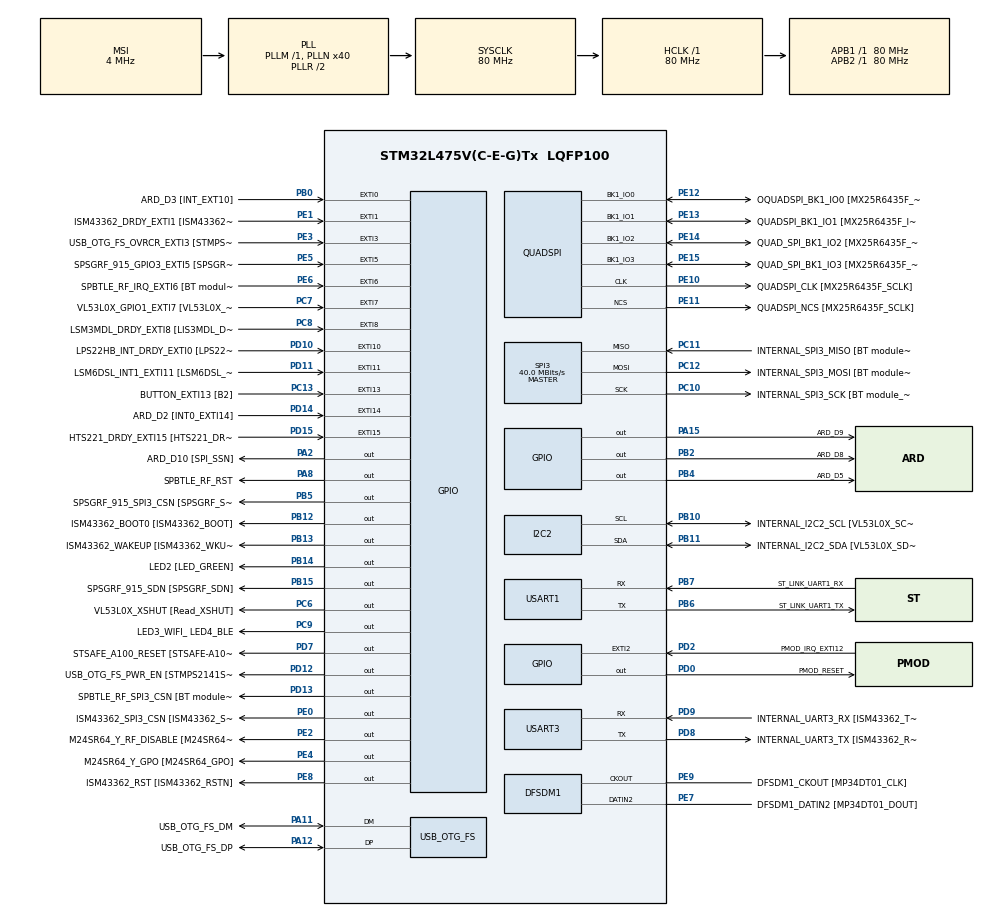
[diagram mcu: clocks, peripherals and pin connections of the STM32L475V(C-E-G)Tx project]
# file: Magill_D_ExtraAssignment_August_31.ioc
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PD12.GPIO_Label=USB_OTG_FS_PWR_EN [STMPS2141STR_EN]
SPI3.Direction=SPI_DIRECTION_2LINES
SPI3.VirtualType=VM_MASTER
QUADSPI.ClockPrescaler=2
PB10.Mode=I2C
PC12.Signal=SPI3_MOSI
PB14.GPIO_Label=LED2 [LED_GREEN]
PC6.GPIO_Label=VL53L0X_XSHUT [Read_XSHUT]
VP_RTC_VS_RTC_Activate.Mode=RTC_Enabled
PA6.GPIO_Label=ARD_D12 [SPI1_MISO]
PB6.GPIO_Label=ST_LINK_UART1_TX
PA15\ (JTDI).Signal=GPIO_Output
PC15-OSC32_OUT\ (PC15).Mode=LSE-External-Oscillator
PB13.Signal=GPIO_Output
PD6.GPIO_Label=PMOD_UART2_RX
PE6.GPIO_Label=SPBTLE_RF_IRQ_EXTI6 [BT module_SPI_IRQ]
RCC.SYSCLKSource=RCC_SYSCLKSOURCE_PLLCLK
PC14-OSC32_IN\ (PC14).Mode=LSE-External-Oscillator
SH.ADCx_IN16.0=ADC1_IN16
USART3.VirtualMode-Asynchronous=VM_ASYNC
PA14\ (JTCK-SWCLK).Signal=SYS_JTCK-SWCLK
Dma.USART1_TX.0.Direction=DMA_MEMORY_TO_PERIPH
PD4.Signal=USART2_RTS
RCC.APB2TimFreq_Value=80000000
PB6.Signal=USART1_TX
PC7.Signal=GPXTI7
PB6.Mode=Asynchronous
PC3.Signal=ADCx_IN4
PD0.Signal=GPIO_Output
PD8.Signal=USART3_TX
PE5.Signal=GPXTI5
PE1.Signal=GPXTI1
QUADSPI.FlashSize=23
NVIC.EXTI15_10_IRQn=true\:0\:0\:false\:false\:true\:true\:true
Dma.USART1_RX.1.PeriphDataAlignment=DMA_PDATAALIGN_BYTE
PB2.Signal=GPIO_Output
PD1.GPIO_Label=PMOD_SPI2_SCK
PB12.GPIO_Label=ISM43362_BOOT0 [ISM43362_BOOT]
PC4.GPIO_Label=ARD_A1 [ADC]
PE9.Signal=S_CKOUTDFSDM1
PB1.GPIO_Label=ARD_D6 [ADC1_IN6]
PE4.GPIO_Label=M24SR64_Y_GPO [M24SR64_GPO]
PE2.Signal=GPIO_Output
PA8.Signal=GPIO_Output
PE13.Mode=Single Bank
Dma.USART1_TX.0.PeriphDataAlignment=DMA_PDATAALIGN_BYTE
PE10.Signal=QUADSPI_CLK
PA0.Signal=UART4_TX
Dma.USART1_RX.1.Mode=DMA_NORMAL
Mcu.Package=LQFP100
PB9.Signal=I2C1_SDA
PB1.Signal=ADCx_IN16
SPI3.Mode=SPI_MODE_MASTER
SH.ADCx_IN14.0=ADC1_IN14
PD12.Signal=GPIO_Output
PA10.Signal=USB_OTG_FS_ID
VP_RTC_VS_RTC_Calendar.Mode=RTC_Calendar
PE12.GPIO_Label=OQUADSPI_BK1_IO0 [MX25R6435F_IO0]
PC11.Mode=Full_Duplex_Master
SH.ADCx_IN9.0=ADC1_IN9
Dma.USART1_RX.1.PeriphInc=DMA_PINC_DISABLE
RCC.APB1TimFreq_Value=80000000
NVIC.DMA1_Channel4_IRQn=true\:0\:0\:false\:false\:true\:false\:true
PA13\ (JTMS-SWDIO).Signal=SYS_JTMS-SWDIO
NVIC.USART1_IRQn=true\:0\:0\:false\:false\:true\:true\:true
PE10.GPIO_Label=QUADSPI_CLK [MX25R6435F_SCLK]
PA4.GPIO_Label=ARD_D7
PD15.Signal=GPXTI15
PE12.Mode=Single Bank
Dma.USART1_RX.1.Instance=DMA1_Channel5
Dma.USART1_RX.1.MemDataAlignment=DMA_MDATAALIGN_BYTE
PD9.GPIO_Label=INTERNAL_UART3_RX [ISM43362_TX]
PA9.GPIO_Label=USB_OTG_FS_VBUS [STMPS2141STR_OUT]
PC13.Signal=GPXTI13
PD3.Signal=USART2_CTS
PC6.Signal=GPIO_Output
PE10.Mode=Single Bank
PC2.Signal=ADCx_IN3
PB11.GPIO_Label=INTERNAL_I2C2_SDA [VL53L0X_SDA]
PD7.Signal=GPIO_Output
PD1.Signal=SPI2_SCK
PA11.GPIO_Label=USB_OTG_FS_DM
PC0.Signal=ADCx_IN1
PD10.Signal=GPXTI10
PB8.GPIO_Label=ARD_D15 [I2C1_SCL]
PA8.GPIO_Label=SPBTLE_RF_RST
PB11.Mode=I2C
RTC.Year=21
PE8.GPIO_Label=ISM43362_RST [ISM43362_RSTN]
PA9.Signal=USB_OTG_FS_VBUS
PE9.GPIO_Label=DFSDM1_CKOUT [MP34DT01_CLK]
PD8.Mode=Asynchronous
PB10.Signal=I2C2_SCL
PB14.Signal=GPIO_Output
PA5.Signal=SPI1_SCK
PC12.Mode=Full_Duplex_Master
PE1.GPIO_Label=ISM43362_DRDY_EXTI1 [ISM43362_DATARDY]
PE14.Signal=QUADSPI_BK1_IO2
PE15.Signal=QUADSPI_BK1_IO3
PB15.GPIO_Label=SPSGRF_915_SDN [SPSGRF_SDN]
PE8.Signal=GPIO_Output
PA1.GPIO_Label=ARD_D0 [UART4_RX]
SH.ADCx_IN4.0=ADC1_IN4
QUADSPI.FifoThreshold=4
PC7.GPIO_Label=VL53L0X_GPIO1_EXTI7 [VL53L0X_GPIO1]
PA13\ (JTMS-SWDIO).Mode=Serial_Wire
PA4.Signal=ADCx_IN9
PB5.Signal=GPIO_Output
PE13.GPIO_Label=QUADSPI_BK1_IO1 [MX25R6435F_IO1]
PA5.GPIO_Label=ARD_D13 [SPI1_SCK]
PD11.Signal=GPXTI11
PE5.GPIO_Label=SPSGRF_915_GPIO3_EXTI5 [SPSGRF_GPIO_3]
PC12.GPIO_Label=INTERNAL_SPI3_MOSI [BT module_SPI_MOSI] [ISM43362_MOSI]
PA11.Signal=USB_OTG_FS_DM
RTC.HourFormat=RTC_HOURFORMAT_24
ProjectManager.HeapSize=0x200
NVIC.PriorityGroup=NVIC_PRIORITYGROUP_4
PE3.Signal=GPXTI3
PC3.GPIO_Label=ARD_A2 [ADC]
Dma.USART1_RX.1.Direction=DMA_PERIPH_TO_MEMORY
PB4\ (NJTRST).GPIO_Label=ARD_D5
PD2.Signal=GPXTI2
PB0.Signal=GPXTI0
RTC.Date=28
PC1.Signal=ADCx_IN2
PD2.GPIO_Label=PMOD_IRQ_EXTI12
PE15.Mode=Single Bank
Mcu.Family=STM32L4
RCC.CortexFreq_Value=80000000
NVIC.DMA1_Channel5_IRQn=true\:0\:0\:false\:false\:true\:false\:true
PE11.GPIO_Label=QUADSPI_NCS [MX25R6435F_SCLK]
SH.ADCx_IN2.0=ADC1_IN2
PC10.Signal=SPI3_SCK
PA0.GPIO_Label=ARD_D1 [UART4_TX]
PC0.GPIO_Label=ARD_A5 [ADC]
PD0.GPIO_Label=PMOD_RESET
RTC.WeekDay=RTC_WEEKDAY_SATURDAY
PA11.Mode=Device_Only
PB0.GPIO_Label=ARD_D3 [INT_EXT10]
PC13.GPIO_Label=BUTTON_EXTI13 [B2]
PB13.GPIO_Label=ISM43362_WAKEUP [ISM43362_WKUP]
PB11.Signal=I2C2_SDA
PB15.Signal=GPIO_Output
PD9.Mode=Asynchronous
ProjectManager.StackSize=0x400
PB3\ (JTDO-TRACESWO).Signal=SYS_JTDO-SWO
PD13.Signal=GPIO_Output
Dma.USART1_TX.0.Priority=DMA_PRIORITY_LOW
PA12.Signal=USB_OTG_FS_DP
PE11.Mode=Single Bank
PD11.GPIO_Label=LSM6DSL_INT1_EXTI11 [LSM6DSL_INT1]
RCC.HCLKFreq_Value=80000000
SH.ADCx_IN3.0=ADC1_IN3
PB5.PinState=GPIO_PIN_SET
Dma.USART1_RX.1.MemInc=DMA_MINC_ENABLE
RCC.AHBFreq_Value=80000000
RCC.HSE_VALUE=8000000
RTC.Minutes=45
RTC.Month=RTC_MONTH_AUGUST
PE13.Signal=QUADSPI_BK1_IO1
PC11.GPIO_Label=INTERNAL_SPI3_MISO [BT module_SPI_MISO] [ISM43362_MISO]
PA10.GPIO_Label=USB_OTG_FS_ID
PB7.Signal=USART1_RX
PE4.Signal=GPIO_Output
QUADSPI.SampleShifting=QSPI_SAMPLE_SHIFTING_HALFCYCLE
PD7.GPIO_Label=STSAFE_A100_RESET [STSAFE-A100_RESET]
PB7.GPIO_Label=ST_LINK_UART1_RX
PD13.GPIO_Label=SPBTLE_RF_SPI3_CSN [BT module_SPI_CS]
PA6.Signal=SPI1_MISO
PD5.GPIO_Label=PMOD_UART2_TX
PA2.GPIO_Label=ARD_D10 [SPI_SSN]
USB_OTG_FS.VirtualMode=Device_Only
Dma.USART1_TX.0.Instance=DMA1_Channel4
PE0.GPIO_Label=ISM43362_SPI3_CSN [ISM43362_SSN]
SH.ADCx_IN1.0=ADC1_IN1
PB5.GPIO_Label=SPSGRF_915_SPI3_CSN [SPSGRF_SPI_CS]
Dma.Request1=USART1_RX
PC5.Signal=ADCx_IN14
PD3.GPIO_Label=PMOD_UART2_CTS
Dma.USART1_RX.1.Priority=DMA_PRIORITY_LOW
PE7.Signal=S_DATAIN2DFSDM1
PD6.Signal=USART2_RX
Dma.Request0=USART1_TX
PE2.GPIO_Label=M24SR64_Y_RF_DISABLE [M24SR64_RFDIS]
PC2.GPIO_Label=ARD_A3 [ADC]
RCC.PLLSAI1N=24
PA3.Signal=S_TIM2_CH4
RCC.MSI_VALUE=4000000
PA14\ (JTCK-SWCLK).Mode=Serial_Wire
SH.ADCx_IN13.0=ADC1_IN13
PD15.GPIO_Label=HTS221_DRDY_EXTI15 [HTS221_DRDY]
Dma.USART1_TX.0.MemInc=DMA_MINC_ENABLE
PB9.GPIO_Label=ARD_D14 [I2C1_SDA]
Dma.USART1_TX.0.PeriphInc=DMA_PINC_DISABLE
PC10.GPIO_Label=INTERNAL_SPI3_SCK [BT module_SPI_SCLK] [ISM43362_SCK]
PC9.GPIO_Label=LED3_WIFI_ LED4_BLE
PC11.Signal=SPI3_MISO
PC8.Signal=GPXTI8
PC4.Signal=ADCx_IN13
PC10.Mode=Full_Duplex_Master
SH.S_DATAIN2DFSDM1.0=DFSDM1_DATIN2,PDM_SPI_Input_from_ch12_and_Internal_Clock
PE14.GPIO_Label=QUAD_SPI_BK1_IO2 [MX25R6435F_IO2]
PC15-OSC32_OUT\ (PC15).Signal=RCC_OSC32_OUT
PD9.Signal=USART3_RX
PD5.Signal=USART2_TX
PA14\ (JTCK-SWCLK).GPIO_Label=SYS_JTCK_SWCLK
PB3\ (JTDO-TRACESWO).GPIO_Label=SYS_JTD0_SWO
PA12.GPIO_Label=USB_OTG_FS_DP
PD8.GPIO_Label=INTERNAL_UART3_TX [ISM43362_RX]
PC8.GPIO_Label=LSM3MDL_DRDY_EXTI8 [LIS3MDL_DRDY]
USART1.VirtualMode-Asynchronous=VM_ASYNC
PE0.PinState=GPIO_PIN_SET
PE15.GPIO_Label=QUAD_SPI_BK1_IO3 [MX25R6435F_IO3]
ProjectManager.TargetToolchain=STM32CubeIDE
PB10.GPIO_Label=INTERNAL_I2C2_SCL [VL53L0X_SCL]
RCC.USBFreq_Value=48000000
PD10.GPIO_Label=LPS22HB_INT_DRDY_EXTI0 [LPS22HB_INT_DRDY] 
PE11.Signal=QUADSPI_NCS
PA1.Signal=UART4_RX
Dma.USART1_TX.0.Mode=DMA_NORMAL
board=B-L475E-IOT01A1
RCC.VCOOutputFreq_Value=160000000
RCC.APB2Freq_Value=80000000
SPI3.CalculateBaudRate=40.0 MBits/s
PA13\ (JTMS-SWDIO).GPIO_Label=SYS_JTMS_SWDIO
PD4.GPIO_Label=PMOD_UART2_RTS
PE14.Mode=Single Bank
SH.S_CKOUTDFSDM1.0=DFSDM1_CKOUT,CKOUT
SH.S_CKOUTDFSDM1.1=DFSDM1_CKOUT,PDM_SPI_Input_from_ch12_and_Internal_Clock
RCC.ADCFreq_Value=48000000
PC1.GPIO_Label=ARD_A4 [ADC]
PD14.GPIO_Label=ARD_D2 [INT0_EXTI14]
PE6.Signal=GPXTI6
PA15\ (JTDI).GPIO_Label=ARD_D9
Mcu.Name=STM32L475V(C-E-G)Tx
PE0.Signal=GPIO_Output
PE7.GPIO_Label=DFSDM1_DATIN2 [MP34DT01_DOUT]
PE12.Signal=QUADSPI_BK1_IO0
PA2.Signal=GPIO_Output
PD14.Signal=GPXTI14
RCC.SYSCLKFreq_VALUE=80000000
RTC.Hours=18
PA7.GPIO_Label=ARD_D11 [SPI1_MOSI]
PA12.Mode=Device_Only
PC13.GPIO_ModeDefaultEXTI=GPIO_MODE_IT_FALLING
PC5.GPIO_Label=ARD_A0 [ADC]
PC14-OSC32_IN\ (PC14).Signal=RCC_OSC32_IN
PB7.Mode=Asynchronous
Dma.USART1_TX.0.MemDataAlignment=DMA_MDATAALIGN_BYTE
NVIC.EXTI9_5_IRQn=true\:0\:0\:false\:false\:true\:true\:true
PB2.GPIO_Label=ARD_D8
SH.S_TIM2_CH4.0=TIM2_CH4
RCC.HSI_VALUE=16000000
RCC.PLLN=40
PB8.Signal=I2C1_SCL
PE3.GPIO_Label=USB_OTG_FS_OVRCR_EXTI3 [STMPS2141STR_FAULT]
PC9.Signal=GPIO_Output
PD13.PinState=GPIO_PIN_SET
RCC.APB1Freq_Value=80000000
PB12.Signal=GPIO_Output
PA3.GPIO_Label=ARD_D4
PA7.Signal=SPI1_MOSI
PB4\ (NJTRST).Signal=GPIO_Output

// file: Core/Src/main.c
/* USER CODE BEGIN Header */
/**
  ******************************************************************************
  * @file           : main.c
  * @brief          : Main program body
  ******************************************************************************
  * @attention
  *
  * <h2><center>&copy; Copyright (c) 2021 STMicroelectronics.
  * All rights reserved.</center></h2>
  *
  * This software component is licensed by ST under BSD 3-Clause license,
  * the "License"; You may not use this file except in compliance with the
  * License. You may obtain a copy of the License at:
  *                        opensource.org/licenses/BSD-3-Clause
  *
  ******************************************************************************
  */
/* USER CODE END Header */
#include "main.h"

/* USER CODE BEGIN Includes */
#include <stdio.h>
#include <string.h>
/* USER CODE END Includes */

DFSDM_Channel_HandleTypeDef hdfsdm1_channel1;

I2C_HandleTypeDef hi2c2;

QSPI_HandleTypeDef hqspi;

RTC_HandleTypeDef hrtc;

SPI_HandleTypeDef hspi3;

UART_HandleTypeDef huart1;
UART_HandleTypeDef huart3;
DMA_HandleTypeDef hdma_usart1_tx;
DMA_HandleTypeDef hdma_usart1_rx;

PCD_HandleTypeDef hpcd_USB_OTG_FS;

void SystemClock_Config(void);
static void MX_GPIO_Init(void);
static void MX_DMA_Init(void);
static void MX_DFSDM1_Init(void);
static void MX_I2C2_Init(void);
static void MX_QUADSPI_Init(void);
static void MX_SPI3_Init(void);
static void MX_USART1_UART_Init(void);
static void MX_USART3_UART_Init(void);
static void MX_USB_OTG_FS_PCD_Init(void);
static void MX_RTC_Init(void);
/* USER CODE BEGIN PFP */
static void printMenu();
static void logMsg(UART_HandleTypeDef *huart, char *out);
static char logGetMsg(UART_HandleTypeDef *huart);
static void logTime();
static void waitTx();
/* USER CODE END PFP */

/* USER CODE BEGIN 0 */
static uint8_t rx_buffer[1] = {0};
static uint8_t tx_complete = 0;
static RTC_TimeTypeDef sTime1;
static RTC_DateTypeDef sDate1;
/* USER CODE END 0 */

int main(void)
{

  /* MCU Configuration--------------------------------------------------------*/

  /* Reset of all peripherals, Initializes the Flash interface and the Systick. */
  HAL_Init();

  /* Configure the system clock */
  SystemClock_Config();

  /* Initialize all configured peripherals */
  MX_GPIO_Init();
  MX_DMA_Init();
  MX_DFSDM1_Init();
  MX_I2C2_Init();
  MX_QUADSPI_Init();
  MX_SPI3_Init();
  MX_USART1_UART_Init();
  MX_USART3_UART_Init();
  MX_USB_OTG_FS_PCD_Init();
  MX_RTC_Init();
  /* USER CODE BEGIN 2 */
  printMenu();
  /* USER CODE END 2 */

  /* Infinite loop */
  /* USER CODE BEGIN WHILE */
  while (1)
  	{
  		if (logGetMsg(&huart1) != '\0') {

  			switch (rx_buffer[0]) {

  				case 'g':

  					logMsg(&huart1, "Received g \r\n");
  					HAL_GPIO_TogglePin(GPIOB, GPIO_PIN_14);
  					rx_buffer[0] = '\0';
  					break;

  				case 'b':

  					logMsg(&huart1, "Received b \r\n");
  					HAL_GPIO_TogglePin(GPIOC, GPIO_PIN_9);
  					rx_buffer[0] = '\0';
  					break;

  				default:
  					// enableIntr(40);
  					logMsg(&huart1, "Received unknown character... \r\n");
  					rx_buffer[0] = '\0';
  					break;

  			}
  		}
  		logTime();
		HAL_Delay(1000);
    /* USER CODE END WHILE */

  	}
}

void SystemClock_Config(void)
{
  RCC_OscInitTypeDef RCC_OscInitStruct = {0};
  RCC_ClkInitTypeDef RCC_ClkInitStruct = {0};
  RCC_PeriphCLKInitTypeDef PeriphClkInit = {0};

  /** Configure LSE Drive Capability
  */
  HAL_PWR_EnableBkUpAccess();
  __HAL_RCC_LSEDRIVE_CONFIG(RCC_LSEDRIVE_LOW);
  /** Initializes the RCC Oscillators according to the specified parameters
  * in the RCC_OscInitTypeDef structure.
  */
  RCC_OscInitStruct.OscillatorType = RCC_OSCILLATORTYPE_LSI|RCC_OSCILLATORTYPE_LSE
                              |RCC_OSCILLATORTYPE_MSI;
  RCC_OscInitStruct.LSEState = RCC_LSE_ON;
  RCC_OscInitStruct.LSIState = RCC_LSI_ON;
  RCC_OscInitStruct.MSIState = RCC_MSI_ON;
  RCC_OscInitStruct.MSICalibrationValue = 0;
  RCC_OscInitStruct.MSIClockRange = RCC_MSIRANGE_6;
  RCC_OscInitStruct.PLL.PLLState = RCC_PLL_ON;
  RCC_OscInitStruct.PLL.PLLSource = RCC_PLLSOURCE_MSI;
  RCC_OscInitStruct.PLL.PLLM = 1;
  RCC_OscInitStruct.PLL.PLLN = 40;
  RCC_OscInitStruct.PLL.PLLP = RCC_PLLP_DIV7;
  RCC_OscInitStruct.PLL.PLLQ = RCC_PLLQ_DIV2;
  RCC_OscInitStruct.PLL.PLLR = RCC_PLLR_DIV2;
  if (HAL_RCC_OscConfig(&RCC_OscInitStruct) != HAL_OK)
  {
    Error_Handler();
  }
  /** Initializes the CPU, AHB and APB buses clocks
  */
  RCC_ClkInitStruct.ClockType = RCC_CLOCKTYPE_HCLK|RCC_CLOCKTYPE_SYSCLK
                              |RCC_CLOCKTYPE_PCLK1|RCC_CLOCKTYPE_PCLK2;
  RCC_ClkInitStruct.SYSCLKSource = RCC_SYSCLKSOURCE_PLLCLK;
  RCC_ClkInitStruct.AHBCLKDivider = RCC_SYSCLK_DIV1;
  RCC_ClkInitStruct.APB1CLKDivider = RCC_HCLK_DIV1;
  RCC_ClkInitStruct.APB2CLKDivider = RCC_HCLK_DIV1;

  if (HAL_RCC_ClockConfig(&RCC_ClkInitStruct, FLASH_LATENCY_4) != HAL_OK)
  {
    Error_Handler();
  }
  PeriphClkInit.PeriphClockSelection = RCC_PERIPHCLK_RTC|RCC_PERIPHCLK_USART1
                              |RCC_PERIPHCLK_USART3|RCC_PERIPHCLK_I2C2
                              |RCC_PERIPHCLK_DFSDM1|RCC_PERIPHCLK_USB;
  PeriphClkInit.Usart1ClockSelection = RCC_USART1CLKSOURCE_PCLK2;
  PeriphClkInit.Usart3ClockSelection = RCC_USART3CLKSOURCE_PCLK1;
  PeriphClkInit.I2c2ClockSelection = RCC_I2C2CLKSOURCE_PCLK1;
  PeriphClkInit.Dfsdm1ClockSelection = RCC_DFSDM1CLKSOURCE_PCLK;
  PeriphClkInit.RTCClockSelection = RCC_RTCCLKSOURCE_LSI;
  PeriphClkInit.UsbClockSelection = RCC_USBCLKSOURCE_PLLSAI1;
  PeriphClkInit.PLLSAI1.PLLSAI1Source = RCC_PLLSOURCE_MSI;
  PeriphClkInit.PLLSAI1.PLLSAI1M = 1;
  PeriphClkInit.PLLSAI1.PLLSAI1N = 24;
  PeriphClkInit.PLLSAI1.PLLSAI1P = RCC_PLLP_DIV7;
  PeriphClkInit.PLLSAI1.PLLSAI1Q = RCC_PLLQ_DIV2;
  PeriphClkInit.PLLSAI1.PLLSAI1R = RCC_PLLR_DIV2;
  PeriphClkInit.PLLSAI1.PLLSAI1ClockOut = RCC_PLLSAI1_48M2CLK;
  if (HAL_RCCEx_PeriphCLKConfig(&PeriphClkInit) != HAL_OK)
  {
    Error_Handler();
  }
  /** Configure the main internal regulator output voltage
  */
  if (HAL_PWREx_ControlVoltageScaling(PWR_REGULATOR_VOLTAGE_SCALE1) != HAL_OK)
  {
    Error_Handler();
  }
  /** Enable MSI Auto calibration
  */
  HAL_RCCEx_EnableMSIPLLMode();
}

static void MX_DFSDM1_Init(void)
{

  hdfsdm1_channel1.Instance = DFSDM1_Channel1;
  hdfsdm1_channel1.Init.OutputClock.Activation = ENABLE;
  hdfsdm1_channel1.Init.OutputClock.Selection = DFSDM_CHANNEL_OUTPUT_CLOCK_SYSTEM;
  hdfsdm1_channel1.Init.OutputClock.Divider = 2;
  hdfsdm1_channel1.Init.Input.Multiplexer = DFSDM_CHANNEL_EXTERNAL_INPUTS;
  hdfsdm1_channel1.Init.Input.DataPacking = DFSDM_CHANNEL_STANDARD_MODE;
  hdfsdm1_channel1.Init.Input.Pins = DFSDM_CHANNEL_FOLLOWING_CHANNEL_PINS;
  hdfsdm1_channel1.Init.SerialInterface.Type = DFSDM_CHANNEL_SPI_RISING;
  hdfsdm1_channel1.Init.SerialInterface.SpiClock = DFSDM_CHANNEL_SPI_CLOCK_INTERNAL;
  hdfsdm1_channel1.Init.Awd.FilterOrder = DFSDM_CHANNEL_FASTSINC_ORDER;
  hdfsdm1_channel1.Init.Awd.Oversampling = 1;
  hdfsdm1_channel1.Init.Offset = 0;
  hdfsdm1_channel1.Init.RightBitShift = 0x00;
  if (HAL_DFSDM_ChannelInit(&hdfsdm1_channel1) != HAL_OK)
  {
    Error_Handler();
  }

}

static void MX_I2C2_Init(void)
{

  hi2c2.Instance = I2C2;
  hi2c2.Init.Timing = 0x00000E14;
  hi2c2.Init.OwnAddress1 = 0;
  hi2c2.Init.AddressingMode = I2C_ADDRESSINGMODE_7BIT;
  hi2c2.Init.DualAddressMode = I2C_DUALADDRESS_DISABLE;
  hi2c2.Init.OwnAddress2 = 0;
  hi2c2.Init.OwnAddress2Masks = I2C_OA2_NOMASK;
  hi2c2.Init.GeneralCallMode = I2C_GENERALCALL_DISABLE;
  hi2c2.Init.NoStretchMode = I2C_NOSTRETCH_DISABLE;
  if (HAL_I2C_Init(&hi2c2) != HAL_OK)
  {
    Error_Handler();
  }
  /** Configure Analogue filter
  */
  if (HAL_I2CEx_ConfigAnalogFilter(&hi2c2, I2C_ANALOGFILTER_ENABLE) != HAL_OK)
  {
    Error_Handler();
  }
  /** Configure Digital filter
  */
  if (HAL_I2CEx_ConfigDigitalFilter(&hi2c2, 0) != HAL_OK)
  {
    Error_Handler();
  }

}

static void MX_QUADSPI_Init(void)
{

  /* QUADSPI parameter configuration*/
  hqspi.Instance = QUADSPI;
  hqspi.Init.ClockPrescaler = 2;
  hqspi.Init.FifoThreshold = 4;
  hqspi.Init.SampleShifting = QSPI_SAMPLE_SHIFTING_HALFCYCLE;
  hqspi.Init.FlashSize = 23;
  hqspi.Init.ChipSelectHighTime = QSPI_CS_HIGH_TIME_1_CYCLE;
  hqspi.Init.ClockMode = QSPI_CLOCK_MODE_0;
  if (HAL_QSPI_Init(&hqspi) != HAL_OK)
  {
    Error_Handler();
  }

}

static void MX_RTC_Init(void)
{

  RTC_TimeTypeDef sTime = {0};
  RTC_DateTypeDef sDate = {0};

  /** Initialize RTC Only
  */
  hrtc.Instance = RTC;
  hrtc.Init.HourFormat = RTC_HOURFORMAT_24;
  hrtc.Init.AsynchPrediv = 127;
  hrtc.Init.SynchPrediv = 255;
  hrtc.Init.OutPut = RTC_OUTPUT_DISABLE;
  hrtc.Init.OutPutRemap = RTC_OUTPUT_REMAP_NONE;
  hrtc.Init.OutPutPolarity = RTC_OUTPUT_POLARITY_HIGH;
  hrtc.Init.OutPutType = RTC_OUTPUT_TYPE_OPENDRAIN;
  if (HAL_RTC_Init(&hrtc) != HAL_OK)
  {
    Error_Handler();
  }

  /** Initialize RTC and set the Time and Date
  */
  sTime.Hours = 0x18;
  sTime.Minutes = 0x45;
  sTime.Seconds = 0x0;
  sTime.DayLightSaving = RTC_DAYLIGHTSAVING_NONE;
  sTime.StoreOperation = RTC_STOREOPERATION_RESET;
  if (HAL_RTC_SetTime(&hrtc, &sTime, RTC_FORMAT_BCD) != HAL_OK)
  {
    Error_Handler();
  }
  sDate.WeekDay = RTC_WEEKDAY_SATURDAY;
  sDate.Month = RTC_MONTH_AUGUST;
  sDate.Date = 0x28;
  sDate.Year = 0x21;

  if (HAL_RTC_SetDate(&hrtc, &sDate, RTC_FORMAT_BCD) != HAL_OK)
  {
    Error_Handler();
  }

}

static void MX_SPI3_Init(void)
{

  /* SPI3 parameter configuration*/
  hspi3.Instance = SPI3;
  hspi3.Init.Mode = SPI_MODE_MASTER;
  hspi3.Init.Direction = SPI_DIRECTION_2LINES;
  hspi3.Init.DataSize = SPI_DATASIZE_4BIT;
  hspi3.Init.CLKPolarity = SPI_POLARITY_LOW;
  hspi3.Init.CLKPhase = SPI_PHASE_1EDGE;
  hspi3.Init.NSS = SPI_NSS_SOFT;
  hspi3.Init.BaudRatePrescaler = SPI_BAUDRATEPRESCALER_2;
  hspi3.Init.FirstBit = SPI_FIRSTBIT_MSB;
  hspi3.Init.TIMode = SPI_TIMODE_DISABLE;
  hspi3.Init.CRCCalculation = SPI_CRCCALCULATION_DISABLE;
  hspi3.Init.CRCPolynomial = 7;
  hspi3.Init.CRCLength = SPI_CRC_LENGTH_DATASIZE;
  hspi3.Init.NSSPMode = SPI_NSS_PULSE_ENABLE;
  if (HAL_SPI_Init(&hspi3) != HAL_OK)
  {
    Error_Handler();
  }

}

static void MX_USART1_UART_Init(void)
{

  huart1.Instance = USART1;
  huart1.Init.BaudRate = 115200;
  huart1.Init.WordLength = UART_WORDLENGTH_8B;
  huart1.Init.StopBits = UART_STOPBITS_1;
  huart1.Init.Parity = UART_PARITY_NONE;
  huart1.Init.Mode = UART_MODE_TX_RX;
  huart1.Init.HwFlowCtl = UART_HWCONTROL_NONE;
  huart1.Init.OverSampling = UART_OVERSAMPLING_16;
  huart1.Init.OneBitSampling = UART_ONE_BIT_SAMPLE_DISABLE;
  huart1.AdvancedInit.AdvFeatureInit = UART_ADVFEATURE_NO_INIT;
  if (HAL_UART_Init(&huart1) != HAL_OK)
  {
    Error_Handler();
  }

}

static void MX_USART3_UART_Init(void)
{

  huart3.Instance = USART3;
  huart3.Init.BaudRate = 115200;
  huart3.Init.WordLength = UART_WORDLENGTH_8B;
  huart3.Init.StopBits = UART_STOPBITS_1;
  huart3.Init.Parity = UART_PARITY_NONE;
  huart3.Init.Mode = UART_MODE_TX_RX;
  huart3.Init.HwFlowCtl = UART_HWCONTROL_NONE;
  huart3.Init.OverSampling = UART_OVERSAMPLING_16;
  huart3.Init.OneBitSampling = UART_ONE_BIT_SAMPLE_DISABLE;
  huart3.AdvancedInit.AdvFeatureInit = UART_ADVFEATURE_NO_INIT;
  if (HAL_UART_Init(&huart3) != HAL_OK)
  {
    Error_Handler();
  }

}

static void MX_USB_OTG_FS_PCD_Init(void)
{

  hpcd_USB_OTG_FS.Instance = USB_OTG_FS;
  hpcd_USB_OTG_FS.Init.dev_endpoints = 6;
  hpcd_USB_OTG_FS.Init.speed = PCD_SPEED_FULL;
  hpcd_USB_OTG_FS.Init.phy_itface = PCD_PHY_EMBEDDED;
  hpcd_USB_OTG_FS.Init.Sof_enable = DISABLE;
  hpcd_USB_OTG_FS.Init.low_power_enable = DISABLE;
  hpcd_USB_OTG_FS.Init.lpm_enable = DISABLE;
  hpcd_USB_OTG_FS.Init.battery_charging_enable = DISABLE;
  hpcd_USB_OTG_FS.Init.use_dedicated_ep1 = DISABLE;
  hpcd_USB_OTG_FS.Init.vbus_sensing_enable = DISABLE;
  if (HAL_PCD_Init(&hpcd_USB_OTG_FS) != HAL_OK)
  {
    Error_Handler();
  }

}

static void MX_DMA_Init(void)
{

  /* DMA controller clock enable */
  __HAL_RCC_DMA1_CLK_ENABLE();

  /* DMA interrupt init */
  /* DMA1_Channel4_IRQn interrupt configuration */
  HAL_NVIC_SetPriority(DMA1_Channel4_IRQn, 0, 0);
  HAL_NVIC_EnableIRQ(DMA1_Channel4_IRQn);
  /* DMA1_Channel5_IRQn interrupt configuration */
  HAL_NVIC_SetPriority(DMA1_Channel5_IRQn, 0, 0);
  HAL_NVIC_EnableIRQ(DMA1_Channel5_IRQn);

}

static void MX_GPIO_Init(void)
{
  GPIO_InitTypeDef GPIO_InitStruct = {0};

  /* GPIO Ports Clock Enable */
  __HAL_RCC_GPIOE_CLK_ENABLE();
  __HAL_RCC_GPIOC_CLK_ENABLE();
  __HAL_RCC_GPIOA_CLK_ENABLE();
  __HAL_RCC_GPIOB_CLK_ENABLE();
  __HAL_RCC_GPIOD_CLK_ENABLE();

  /*Configure GPIO pin Output Level */
  HAL_GPIO_WritePin(GPIOE, M24SR64_Y_RF_DISABLE_Pin|M24SR64_Y_GPO_Pin|ISM43362_RST_Pin, GPIO_PIN_RESET);

  /*Configure GPIO pin Output Level */
  HAL_GPIO_WritePin(GPIOA, ARD_D10_Pin|SPBTLE_RF_RST_Pin|ARD_D9_Pin, GPIO_PIN_RESET);

  /*Configure GPIO pin Output Level */
  HAL_GPIO_WritePin(GPIOB, ARD_D8_Pin|ISM43362_BOOT0_Pin|ISM43362_WAKEUP_Pin|LED2_Pin
                          |SPSGRF_915_SDN_Pin|ARD_D5_Pin, GPIO_PIN_RESET);

  /*Configure GPIO pin Output Level */
  HAL_GPIO_WritePin(GPIOD, USB_OTG_FS_PWR_EN_Pin|PMOD_RESET_Pin|STSAFE_A100_RESET_Pin, GPIO_PIN_RESET);

  /*Configure GPIO pin Output Level */
  HAL_GPIO_WritePin(SPBTLE_RF_SPI3_CSN_GPIO_Port, SPBTLE_RF_SPI3_CSN_Pin, GPIO_PIN_SET);

  /*Configure GPIO pin Output Level */
  HAL_GPIO_WritePin(GPIOC, VL53L0X_XSHUT_Pin|LED3_WIFI__LED4_BLE_Pin, GPIO_PIN_RESET);

  /*Configure GPIO pin Output Level */
  HAL_GPIO_WritePin(SPSGRF_915_SPI3_CSN_GPIO_Port, SPSGRF_915_SPI3_CSN_Pin, GPIO_PIN_SET);

  /*Configure GPIO pin Output Level */
  HAL_GPIO_WritePin(ISM43362_SPI3_CSN_GPIO_Port, ISM43362_SPI3_CSN_Pin, GPIO_PIN_SET);

  /*Configure GPIO pins : M24SR64_Y_RF_DISABLE_Pin M24SR64_Y_GPO_Pin ISM43362_RST_Pin ISM43362_SPI3_CSN_Pin */
  GPIO_InitStruct.Pin = M24SR64_Y_RF_DISABLE_Pin|M24SR64_Y_GPO_Pin|ISM43362_RST_Pin|ISM43362_SPI3_CSN_Pin;
  GPIO_InitStruct.Mode = GPIO_MODE_OUTPUT_PP;
  GPIO_InitStruct.Pull = GPIO_NOPULL;
  GPIO_InitStruct.Speed = GPIO_SPEED_FREQ_LOW;
  HAL_GPIO_Init(GPIOE, &GPIO_InitStruct);

  /*Configure GPIO pins : USB_OTG_FS_OVRCR_EXTI3_Pin SPSGRF_915_GPIO3_EXTI5_Pin SPBTLE_RF_IRQ_EXTI6_Pin ISM43362_DRDY_EXTI1_Pin */
  GPIO_InitStruct.Pin = USB_OTG_FS_OVRCR_EXTI3_Pin|SPSGRF_915_GPIO3_EXTI5_Pin|SPBTLE_RF_IRQ_EXTI6_Pin|ISM43362_DRDY_EXTI1_Pin;
  GPIO_InitStruct.Mode = GPIO_MODE_IT_RISING;
  GPIO_InitStruct.Pull = GPIO_NOPULL;
  HAL_GPIO_Init(GPIOE, &GPIO_InitStruct);

  /*Configure GPIO pin : BUTTON_EXTI13_Pin */
  GPIO_InitStruct.Pin = BUTTON_EXTI13_Pin;
  GPIO_InitStruct.Mode = GPIO_MODE_IT_FALLING;
  GPIO_InitStruct.Pull = GPIO_NOPULL;
  HAL_GPIO_Init(BUTTON_EXTI13_GPIO_Port, &GPIO_InitStruct);

  /*Configure GPIO pins : ARD_A5_Pin ARD_A4_Pin ARD_A3_Pin ARD_A2_Pin
                           ARD_A1_Pin ARD_A0_Pin */
  GPIO_InitStruct.Pin = ARD_A5_Pin|ARD_A4_Pin|ARD_A3_Pin|ARD_A2_Pin
                          |ARD_A1_Pin|ARD_A0_Pin;
  GPIO_InitStruct.Mode = GPIO_MODE_ANALOG_ADC_CONTROL;
  GPIO_InitStruct.Pull = GPIO_NOPULL;
  HAL_GPIO_Init(GPIOC, &GPIO_InitStruct);

  /*Configure GPIO pins : ARD_D1_Pin ARD_D0_Pin */
  GPIO_InitStruct.Pin = ARD_D1_Pin|ARD_D0_Pin;
  GPIO_InitStruct.Mode = GPIO_MODE_AF_PP;
  GPIO_InitStruct.Pull = GPIO_NOPULL;
  GPIO_InitStruct.Speed = GPIO_SPEED_FREQ_VERY_HIGH;
  GPIO_InitStruct.Alternate = GPIO_AF8_UART4;
  HAL_GPIO_Init(GPIOA, &GPIO_InitStruct);

  /*Configure GPIO pins : ARD_D10_Pin SPBTLE_RF_RST_Pin ARD_D9_Pin */
  GPIO_InitStruct.Pin = ARD_D10_Pin|SPBTLE_RF_RST_Pin|ARD_D9_Pin;
  GPIO_InitStruct.Mode = GPIO_MODE_OUTPUT_PP;
  GPIO_InitStruct.Pull = GPIO_NOPULL;
  GPIO_InitStruct.Speed = GPIO_SPEED_FREQ_LOW;
  HAL_GPIO_Init(GPIOA, &GPIO_InitStruct);

  /*Configure GPIO pin : ARD_D4_Pin */
  GPIO_InitStruct.Pin = ARD_D4_Pin;
  GPIO_InitStruct.Mode = GPIO_MODE_AF_PP;
  GPIO_InitStruct.Pull = GPIO_NOPULL;
  GPIO_InitStruct.Speed = GPIO_SPEED_FREQ_LOW;
  GPIO_InitStruct.Alternate = GPIO_AF1_TIM2;
  HAL_GPIO_Init(ARD_D4_GPIO_Port, &GPIO_InitStruct);

  /*Configure GPIO pin : ARD_D7_Pin */
  GPIO_InitStruct.Pin = ARD_D7_Pin;
  GPIO_InitStruct.Mode = GPIO_MODE_ANALOG_ADC_CONTROL;
  GPIO_InitStruct.Pull = GPIO_NOPULL;
  HAL_GPIO_Init(ARD_D7_GPIO_Port, &GPIO_InitStruct);

  /*Configure GPIO pins : ARD_D13_Pin ARD_D12_Pin ARD_D11_Pin */
  GPIO_InitStruct.Pin = ARD_D13_Pin|ARD_D12_Pin|ARD_D11_Pin;
  GPIO_InitStruct.Mode = GPIO_MODE_AF_PP;
  GPIO_InitStruct.Pull = GPIO_NOPULL;
  GPIO_InitStruct.Speed = GPIO_SPEED_FREQ_VERY_HIGH;
  GPIO_InitStruct.Alternate = GPIO_AF5_SPI1;
  HAL_GPIO_Init(GPIOA, &GPIO_InitStruct);

  /*Configure GPIO pin : ARD_D3_Pin */
  GPIO_InitStruct.Pin = ARD_D3_Pin;
  GPIO_InitStruct.Mode = GPIO_MODE_IT_RISING;
  GPIO_InitStruct.Pull = GPIO_NOPULL;
  HAL_GPIO_Init(ARD_D3_GPIO_Port, &GPIO_InitStruct);

  /*Configure GPIO pin : ARD_D6_Pin */
  GPIO_InitStruct.Pin = ARD_D6_Pin;
  GPIO_InitStruct.Mode = GPIO_MODE_ANALOG_ADC_CONTROL;
  GPIO_InitStruct.Pull = GPIO_NOPULL;
  HAL_GPIO_Init(ARD_D6_GPIO_Port, &GPIO_InitStruct);

  /*Configure GPIO pins : ARD_D8_Pin ISM43362_BOOT0_Pin ISM43362_WAKEUP_Pin LED2_Pin
                           SPSGRF_915_SDN_Pin ARD_D5_Pin SPSGRF_915_SPI3_CSN_Pin */
  GPIO_InitStruct.Pin = ARD_D8_Pin|ISM43362_BOOT0_Pin|ISM43362_WAKEUP_Pin|LED2_Pin
                          |SPSGRF_915_SDN_Pin|ARD_D5_Pin|SPSGRF_915_SPI3_CSN_Pin;
  GPIO_InitStruct.Mode = GPIO_MODE_OUTPUT_PP;
  GPIO_InitStruct.Pull = GPIO_NOPULL;
  GPIO_InitStruct.Speed = GPIO_SPEED_FREQ_LOW;
  HAL_GPIO_Init(GPIOB, &GPIO_InitStruct);

  /*Configure GPIO pins : LPS22HB_INT_DRDY_EXTI0_Pin LSM6DSL_INT1_EXTI11_Pin ARD_D2_Pin HTS221_DRDY_EXTI15_Pin
                           PMOD_IRQ_EXTI12_Pin */
  GPIO_InitStruct.Pin = LPS22HB_INT_DRDY_EXTI0_Pin|LSM6DSL_INT1_EXTI11_Pin|ARD_D2_Pin|HTS221_DRDY_EXTI15_Pin
                          |PMOD_IRQ_EXTI12_Pin;
  GPIO_InitStruct.Mode = GPIO_MODE_IT_RISING;
  GPIO_InitStruct.Pull = GPIO_NOPULL;
  HAL_GPIO_Init(GPIOD, &GPIO_InitStruct);

  /*Configure GPIO pins : USB_OTG_FS_PWR_EN_Pin SPBTLE_RF_SPI3_CSN_Pin PMOD_RESET_Pin STSAFE_A100_RESET_Pin */
  GPIO_InitStruct.Pin = USB_OTG_FS_PWR_EN_Pin|SPBTLE_RF_SPI3_CSN_Pin|PMOD_RESET_Pin|STSAFE_A100_RESET_Pin;
  GPIO_InitStruct.Mode = GPIO_MODE_OUTPUT_PP;
  GPIO_InitStruct.Pull = GPIO_NOPULL;
  GPIO_InitStruct.Speed = GPIO_SPEED_FREQ_LOW;
  HAL_GPIO_Init(GPIOD, &GPIO_InitStruct);

  /*Configure GPIO pins : VL53L0X_XSHUT_Pin LED3_WIFI__LED4_BLE_Pin */
  GPIO_InitStruct.Pin = VL53L0X_XSHUT_Pin|LED3_WIFI__LED4_BLE_Pin;
  GPIO_InitStruct.Mode = GPIO_MODE_OUTPUT_PP;
  GPIO_InitStruct.Pull = GPIO_NOPULL;
  GPIO_InitStruct.Speed = GPIO_SPEED_FREQ_LOW;
  HAL_GPIO_Init(GPIOC, &GPIO_InitStruct);

  /*Configure GPIO pins : VL53L0X_GPIO1_EXTI7_Pin LSM3MDL_DRDY_EXTI8_Pin */
  GPIO_InitStruct.Pin = VL53L0X_GPIO1_EXTI7_Pin|LSM3MDL_DRDY_EXTI8_Pin;
  GPIO_InitStruct.Mode = GPIO_MODE_IT_RISING;
  GPIO_InitStruct.Pull = GPIO_NOPULL;
  HAL_GPIO_Init(GPIOC, &GPIO_InitStruct);

  /*Configure GPIO pin : PMOD_SPI2_SCK_Pin */
  GPIO_InitStruct.Pin = PMOD_SPI2_SCK_Pin;
  GPIO_InitStruct.Mode = GPIO_MODE_AF_PP;
  GPIO_InitStruct.Pull = GPIO_NOPULL;
  GPIO_InitStruct.Speed = GPIO_SPEED_FREQ_VERY_HIGH;
  GPIO_InitStruct.Alternate = GPIO_AF5_SPI2;
  HAL_GPIO_Init(PMOD_SPI2_SCK_GPIO_Port, &GPIO_InitStruct);

  /*Configure GPIO pins : PMOD_UART2_CTS_Pin PMOD_UART2_RTS_Pin PMOD_UART2_TX_Pin PMOD_UART2_RX_Pin */
  GPIO_InitStruct.Pin = PMOD_UART2_CTS_Pin|PMOD_UART2_RTS_Pin|PMOD_UART2_TX_Pin|PMOD_UART2_RX_Pin;
  GPIO_InitStruct.Mode = GPIO_MODE_AF_PP;
  GPIO_InitStruct.Pull = GPIO_NOPULL;
  GPIO_InitStruct.Speed = GPIO_SPEED_FREQ_VERY_HIGH;
  GPIO_InitStruct.Alternate = GPIO_AF7_USART2;
  HAL_GPIO_Init(GPIOD, &GPIO_InitStruct);

  /*Configure GPIO pins : ARD_D15_Pin ARD_D14_Pin */
  GPIO_InitStruct.Pin = ARD_D15_Pin|ARD_D14_Pin;
  GPIO_InitStruct.Mode = GPIO_MODE_AF_OD;
  GPIO_InitStruct.Pull = GPIO_PULLUP;
  GPIO_InitStruct.Speed = GPIO_SPEED_FREQ_VERY_HIGH;
  GPIO_InitStruct.Alternate = GPIO_AF4_I2C1;
  HAL_GPIO_Init(GPIOB, &GPIO_InitStruct);

  /* EXTI interrupt init*/
  HAL_NVIC_SetPriority(EXTI9_5_IRQn, 0, 0);
  HAL_NVIC_EnableIRQ(EXTI9_5_IRQn);

  HAL_NVIC_SetPriority(EXTI15_10_IRQn, 0, 0);
  HAL_NVIC_EnableIRQ(EXTI15_10_IRQn);

}

/* USER CODE BEGIN 4 */

static void printMenu() {
	logMsg(&huart1, "Welcome to Embedded Controller Programming\r\n");
//	waitTx();
	logMsg(&huart1, "Enter g for toggling Green LED\r\n");
//	waitTx();
	logMsg(&huart1, "Enter b for toggling Blue LED\r\n");
//	waitTx();
}

/**
 * Log a message via UART peripheral
 */
static void logMsg(UART_HandleTypeDef *huart, char *out) {
	HAL_UART_Transmit_DMA(huart, (uint8_t *) out, strlen(out));

	do{

	} while(!tx_complete);

	tx_complete = 0;
}

/**
 * Get a message via UART peripheral
 */
char logGetMsg(UART_HandleTypeDef *huart) {
	HAL_UART_Receive_DMA(&huart1, rx_buffer, sizeof(rx_buffer));
	return rx_buffer[0];
}

void waitTx() {
	while(!tx_complete);
}

void HAL_UART_RxCpltCallback(UART_HandleTypeDef *huart) {

}

void HAL_UART_TxCpltCallback(UART_HandleTypeDef *huart) {
	tx_complete = 1;
}

void logTime() {
	HAL_RTC_GetTime(&hrtc, &sTime1, RTC_FORMAT_BCD);
	HAL_RTC_GetDate(&hrtc, &sDate1, RTC_FORMAT_BCD);

	char date_time[100] = {0};
	date_time[0] = (sDate1.Date / 16) + 48;
	date_time[1] = (sDate1.Date % 16) + 48;
	date_time[2] = '-';
	date_time[3] = (sDate1.Month / 16) + 48;
	date_time[4] = (sDate1.Month % 16) + 48;
	date_time[5] = '-';
	date_time[6] = '2';
	date_time[7] = '0';
	date_time[8] = (sDate1.Year / 16) + 48;
	date_time[9] = (sDate1.Year % 16) + 48;
	date_time[10] ='@';
	date_time[11] = (sTime1.Hours / 16) + 48;
	date_time[12] = (sTime1.Hours % 16) + 48;
	date_time[13] = ':';
	date_time[14] = (sTime1.Minutes / 16) + 48;
	date_time[15] = (sTime1.Minutes % 16) + 48;
	date_time[16] = ':';
	date_time[17] = (sTime1.Seconds / 16) + 48;
	date_time[18] = (sTime1.Seconds % 16) + 48;
	date_time[19] = '\r';
	date_time[20] = '\n';

	logMsg(&huart1, date_time);
//	waitTx();
}

/* USER CODE END 4 */

void Error_Handler(void)
{
  __disable_irq();
  while (1)
  {
  }
}

/************************ (C) COPYRIGHT STMicroelectronics *****END OF FILE****/
